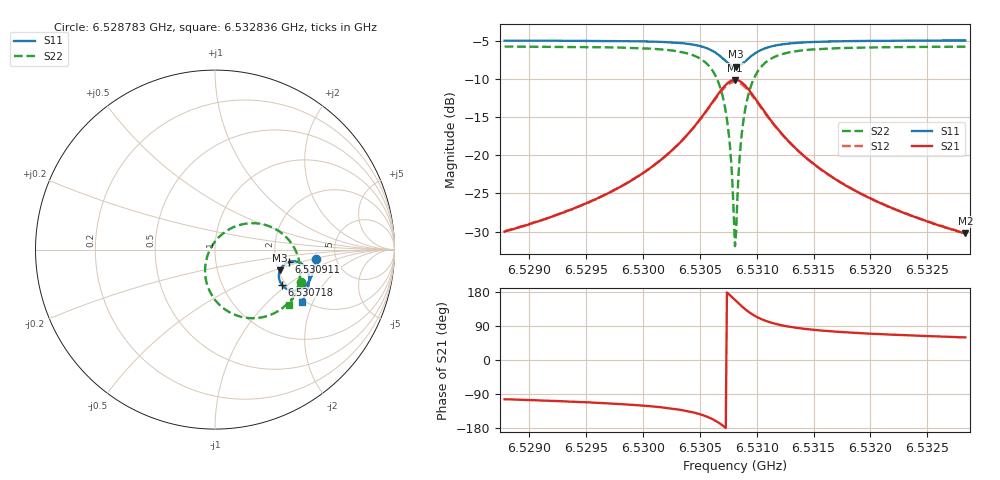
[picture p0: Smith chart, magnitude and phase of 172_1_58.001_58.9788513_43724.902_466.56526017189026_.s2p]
#  HZ  S  RI  R  50.00
! Rohde & Schwarz Vector Network Analyzer
! Rohde-Schwarz,ZNB20-2Port,1311601062101988,3.16
! Created: UTC 3/21/2024, 12:57:58 AM
! freq[Hz]  re:S11  im:S11  re:S21  im:S21  re:S12  im:S12  re:S22  im:S22
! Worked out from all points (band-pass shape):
!   401 points, 6.528783 GHz to 6.532836 GHz, reference 50 ohm
!   highest |S21| = -10.13 dB at 6.53081 GHz (marker M1); lowest = -30.2 dB at 6.532836 GHz (marker M2)
!   |S21| within 3 dB of the highest: 6.530607 GHz to 6.531013 GHz (406.1 kHz wide, 0.00622 % of centre)
!   lowest |S11| = -8.4 dB at 6.53082 GHz (marker M3), VSWR 2.22, Z = 102 - j27.6 ohm
!   |S11| at or under -10 dB: nowhere
!   |S22| runs from -31.9 to -5.8 dB; largest |S21 - S12| = 0.013
!   S11 on the Smith chart (normalised r, x): 6.528783 GHz: 3.49, -0.52; 6.530718 GHz: 1.90, -0.90; 6.530911 GHz: 2.37, -0.39; 6.532836 GHz: 1.94, -1.66
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6.5287833e9  0.5604 -0.0512  -0.00744 -0.0307  -0.00805 -0.0307  0.4816 -0.1811
6.5294621e9  0.5513 -0.1082  -0.0169 -0.0438  -0.018 -0.0435  0.4494 -0.2442
6.5298572e9  0.5396 -0.1457  -0.03 -0.0582  -0.0317 -0.0575  0.4138 -0.2905
6.5301409e9  0.5241 -0.1771  -0.0511 -0.0753  -0.0533 -0.0739  0.3654 -0.3331
6.5303739e9  0.4974 -0.2075  -0.0914 -0.0951  -0.0943 -0.0919  0.2831 -0.3723
6.5305462e9  0.4533 -0.2274  -0.1607 -0.1019  -0.1631 -0.095  0.1551 -0.3767
6.5306475e9  0.4077 -0.2226  -0.2315 -0.0751  -0.2306 -0.0651  0.0367 -0.3183
6.5307184e9  0.3718 -0.1952  -0.2836 -0.0156  -0.2775 -0.00533  -0.0395 -0.2081
6.5307589e9  0.3583 -0.167  -0.2997 0.0382  -0.2905 0.0465  -0.0554 -0.1161
6.5307994e9  0.3566 -0.1331  -0.295 0.0994  -0.2838 0.1043  -0.0354 -0.0163
6.5308096e9  0.3587 -0.1246  -0.2899 0.1146  -0.2786 0.1183  -0.0243 0.00715
6.5308197e9  0.3615 -0.1162  -0.2836 0.1291  -0.272 0.1319  -0.011 0.0298
6.5308298e9  0.3652 -0.1083  -0.2755 0.1426  -0.2643 0.1446  0.00467 0.0507
6.5308602e9  0.3804 -0.0879  -0.2453 0.1775  -0.2351 0.1769  0.061 0.1019
6.5308805e9  0.3932 -0.0779  -0.2215 0.1946  -0.2124 0.1926  0.1034 0.1253
6.5309109e9  0.4138 -0.0682  -0.1841 0.2104  -0.177 0.2074  0.1681 0.144
6.5309818e9  0.4576 -0.0674  -0.1076 0.2128  -0.1039 0.2096  0.2964 0.1325
6.5310831e9  0.4961 -0.0892  -0.0419 0.1816  -0.0398 0.1798  0.4029 0.0633
6.5312351e9  0.5188 -0.1252  -0.00185 0.1344  -0.000276 0.1337  0.4606 -0.0337
6.5314884e9  0.5249 -0.1688  0.0154 0.0878  0.0166 0.0876  0.4749 -0.1322
6.5321672e9  0.5082 -0.2401  0.0178 0.0423  0.0185 0.042  0.4456 -0.249
6.5328359e9  0.4836 -0.2913  0.0156 0.0265  0.0162 0.0263  0.4109 -0.3087
